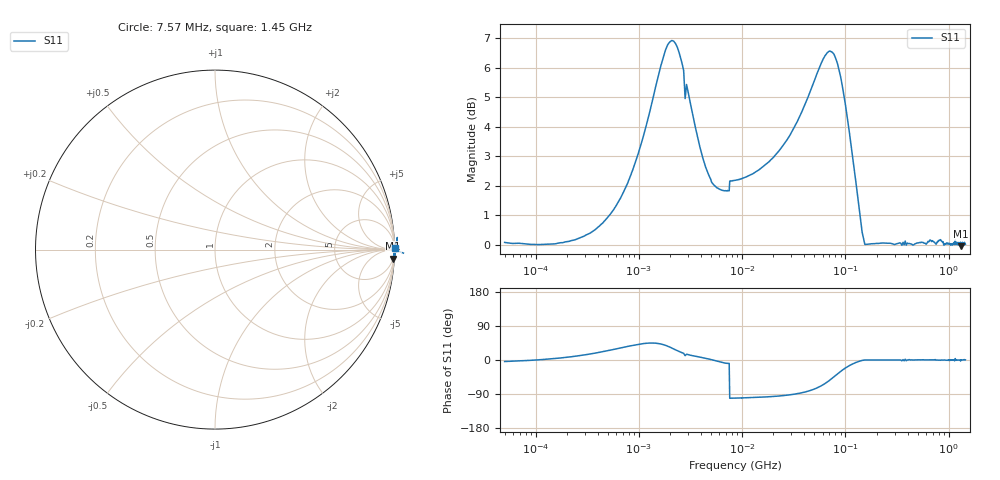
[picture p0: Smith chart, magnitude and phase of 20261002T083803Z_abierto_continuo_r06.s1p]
! piloto_saltos / abierto_continuo / r06
# HZ S RI R 50
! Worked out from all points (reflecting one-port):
!   501 points, 50 kHz to 1.45 GHz, reference 50 ohm
!   lowest |S11| = -0.1 dB at 1.302 GHz (marker M1), VSWR 335.26, Z = 236 - j1.97e+03 ohm
!   phase of S11 starts at -4 deg and turns +5 deg over the sweep
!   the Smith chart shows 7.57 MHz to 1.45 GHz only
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50000  1.006 -0.0708
183000  1.002 0.1051
363500  1.007 0.3166
658000  1.019 0.6261
1180000  1.145 1.112
1630000  1.489 1.355
1990000  1.829 1.239
2440000  1.96 0.8161
2980000  1.767 0.4485
4600000  1.327 0.0806
7300000  1.219 -0.1937
7750000  -0.2425 -1.26
8560000  -0.2349 -1.264
1.81e7  -0.1688 -1.372
3.16e7  -0.0119 -1.578
4.69e7  0.339 -1.812
5.68e7  0.6969 -1.886
6.49e7  1.045 -1.827
7.39e7  1.399 -1.599
8.65e7  1.651 -1.098
9.82e7  1.627 -0.6736
1e8  1.611 -0.6196
1.18e8  1.377 -0.2448
1.36e8  1.148 -0.0683
1.63e8  1.002 0.000145
4.06e8  1.004 0.0009
1.3015e9  0.9928 -0.0496
1.45e9  1.002 0.00832
